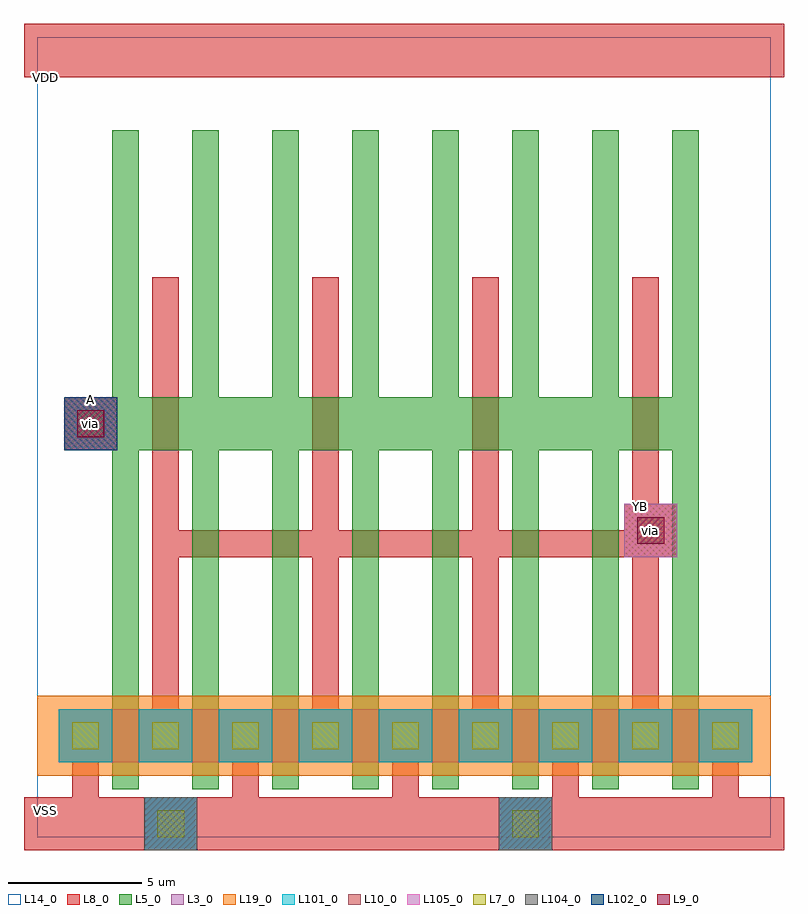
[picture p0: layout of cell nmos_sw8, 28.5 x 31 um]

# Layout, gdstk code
import gdstk
lib = gdstk.Library(unit=1e-6, precision=1e-09)
def R(c, l, rs):  # rectangles x0, y0, x1, y1
    for r in rs: c.add(gdstk.rectangle(r[:2], r[2:], *l))
L3_0 = (3, 0)
L5_0 = (5, 0)
L7_0 = (7, 0)
L8_0 = (8, 0)
L9_0 = (9, 0)
L10_0 = (10, 0)
L14_0 = (14, 0)
L19_0 = (19, 0)
L101_0 = (101, 0)
L102_0 = (102, 0)
L104_0 = (104, 0)
L105_0 = (105, 0)

dcont = lib.new_cell('dcont')
R(dcont, L3_0, [(-1,-1,1,1)])
R(dcont, L7_0, [(-0.5,-0.5,0.5,0.5)])
R(dcont, L8_0, [(-1,-1,1,1)])
R(dcont, L101_0, [(-1,-1,1,1)])
dcont.add(gdstk.Label('dcont', (0,0), layer=13, texttype=0))

psubcont = lib.new_cell('psubcont')
R(psubcont, L104_0, [(-1,-1,1,1)])
psubcont.add(gdstk.Reference(dcont, (0,0)))
psubcont.add(gdstk.Label('PScon', (0,0), layer=13, texttype=0))

pcont = lib.new_cell('pcont')
R(pcont, L5_0, [(-1,-1,1,1)])
R(pcont, L7_0, [(-0.5,-0.5,0.5,0.5)])
R(pcont, L8_0, [(-1,-1,1,1)])
R(pcont, L102_0, [(-1,-1,1,1)])
pcont.add(gdstk.Label('pcont', (0,0), layer=13, texttype=0))

via = lib.new_cell('Via')
R(via, L8_0, [(-1,-1,1,1)])
R(via, L9_0, [(-0.5,-0.5,0.5,0.5)])
R(via, L10_0, [(-1,-1,1,1)])
R(via, L105_0, [(-1,-1,1,1)])
via.add(gdstk.Label('via', (0,0), layer=13, texttype=0))

nmos_sw8 = lib.new_cell('nmos_sw8')
R(nmos_sw8, L3_0, [(0.8,2.8,26.8,4.8)])
R(nmos_sw8, L5_0, [(1.3,14.8,3.3,16.2)])
R(nmos_sw8, L8_0, [(-0.5,-0.5,28,1.5), (22,10.5,24,12.5), (1,14.5,3,16.5), (-0.5,28.5,28,30.5)])
R(nmos_sw8, L10_0, [(22,10.5,24,12.5), (1,14.5,3,16.5)])
R(nmos_sw8, L14_0, [(0,0,27.5,30)])
R(nmos_sw8, L19_0, [(0,2.3,27.5,5.3)])
R(nmos_sw8, L105_0, [(22,10.5,24,12.5), (1,14.5,3,16.5)])
nmos_sw8.add(gdstk.FlexPath([(24.3,26),(24.3,2.3)], 1, ends="extended", simple_path=True, layer=5, datatype=0))  # L5_0
nmos_sw8.add(gdstk.FlexPath([(21.3,2.3),(21.3,26)], 1, ends="extended", simple_path=True, layer=5, datatype=0))  # L5_0
nmos_sw8.add(gdstk.FlexPath([(15.3,26),(15.3,16),(24.3,16)], 1, ends="extended", simple_path=True, layer=5, datatype=0))  # L5_0
nmos_sw8.add(gdstk.FlexPath([(15.3,2.3),(15.3,15),(24.3,15)], 1, ends="extended", simple_path=True, layer=5, datatype=0))  # L5_0
nmos_sw8.add(gdstk.FlexPath([(18.3,26),(18.3,2.3)], 1, ends="extended", simple_path=True, layer=5, datatype=0))  # L5_0
nmos_sw8.add(gdstk.FlexPath([(12.3,26),(12.3,2.3)], 1, ends="extended", simple_path=True, layer=5, datatype=0))  # L5_0
nmos_sw8.add(gdstk.FlexPath([(3.3,26),(3.3,16),(15.3,16)], 1, ends="extended", simple_path=True, layer=5, datatype=0))  # L5_0
nmos_sw8.add(gdstk.FlexPath([(3.3,2.3),(3.3,15),(15.3,15)], 1, ends="extended", simple_path=True, layer=5, datatype=0))  # L5_0
nmos_sw8.add(gdstk.FlexPath([(9.3,2.3),(9.3,26)], 1, ends="extended", simple_path=True, layer=5, datatype=0))  # L5_0
nmos_sw8.add(gdstk.FlexPath([(6.3,26),(6.3,2.3)], 1, ends="extended", simple_path=True, layer=5, datatype=0))  # L5_0
nmos_sw8.add(gdstk.FlexPath([(25.8,1),(25.8,3.8)], 1, ends="extended", simple_path=True, layer=8, datatype=0))  # L8_0
nmos_sw8.add(gdstk.FlexPath([(22.8,20.5),(22.8,3.8)], 1, ends="extended", simple_path=True, layer=8, datatype=0))  # L8_0
nmos_sw8.add(gdstk.FlexPath([(19.8,1),(19.8,3.8)], 1, ends="extended", simple_path=True, layer=8, datatype=0))  # L8_0
nmos_sw8.add(gdstk.FlexPath([(16.8,20.5),(16.8,3.8)], 1, ends="extended", simple_path=True, layer=8, datatype=0))  # L8_0
nmos_sw8.add(gdstk.FlexPath([(13.8,1),(13.8,3.8)], 1, ends="extended", simple_path=True, layer=8, datatype=0))  # L8_0
nmos_sw8.add(gdstk.FlexPath([(4.8,11),(22.8,11)], 1, ends="extended", simple_path=True, layer=8, datatype=0))  # L8_0
nmos_sw8.add(gdstk.FlexPath([(10.8,20.5),(10.8,3.8)], 1, ends="extended", simple_path=True, layer=8, datatype=0))  # L8_0
nmos_sw8.add(gdstk.FlexPath([(7.8,1),(7.8,3.8)], 1, ends="extended", simple_path=True, layer=8, datatype=0))  # L8_0
nmos_sw8.add(gdstk.FlexPath([(4.8,20.5),(4.8,3.8)], 1, ends="extended", simple_path=True, layer=8, datatype=0))  # L8_0
nmos_sw8.add(gdstk.FlexPath([(1.8,1),(1.8,3.8)], 1, ends="extended", simple_path=True, layer=8, datatype=0))  # L8_0
nmos_sw8.add(gdstk.Reference(dcont, (1.8,3.8)))
nmos_sw8.add(gdstk.Reference(dcont, (10.8,3.8)))
nmos_sw8.add(gdstk.Reference(psubcont, (18.3,0.5)))
nmos_sw8.add(gdstk.Reference(dcont, (19.8,3.8)))
nmos_sw8.add(gdstk.Reference(dcont, (7.8,3.8)))
nmos_sw8.add(gdstk.Reference(dcont, (25.8,3.8)))
nmos_sw8.add(gdstk.Reference(dcont, (16.8,3.8)))
nmos_sw8.add(gdstk.Reference(pcont, (2,15.5)))
nmos_sw8.add(gdstk.Reference(dcont, (13.8,3.8)))
nmos_sw8.add(gdstk.Reference(psubcont, (5,0.5)))
nmos_sw8.add(gdstk.Reference(dcont, (4.8,3.8)))
nmos_sw8.add(gdstk.Reference(via, (23,11.5)))
nmos_sw8.add(gdstk.Reference(dcont, (22.8,3.8)))
nmos_sw8.add(gdstk.Reference(via, (2,15.5)))
nmos_sw8.add(gdstk.Label('A', (2,16.4), layer=13, texttype=0))
nmos_sw8.add(gdstk.Label('VDD', (0.3,28.5), layer=13, texttype=0))
nmos_sw8.add(gdstk.Label('VSS', (0.3,1), layer=13, texttype=0))
nmos_sw8.add(gdstk.Label('YB', (22.6,12.4), layer=13, texttype=0))
nmos_sw8.add(gdstk.Label('via', (23,11.5), layer=13, texttype=0))
nmos_sw8.add(gdstk.Label('via', (2,15.5), layer=13, texttype=0))

lib.write_gds('nmos_sw8.gds')
